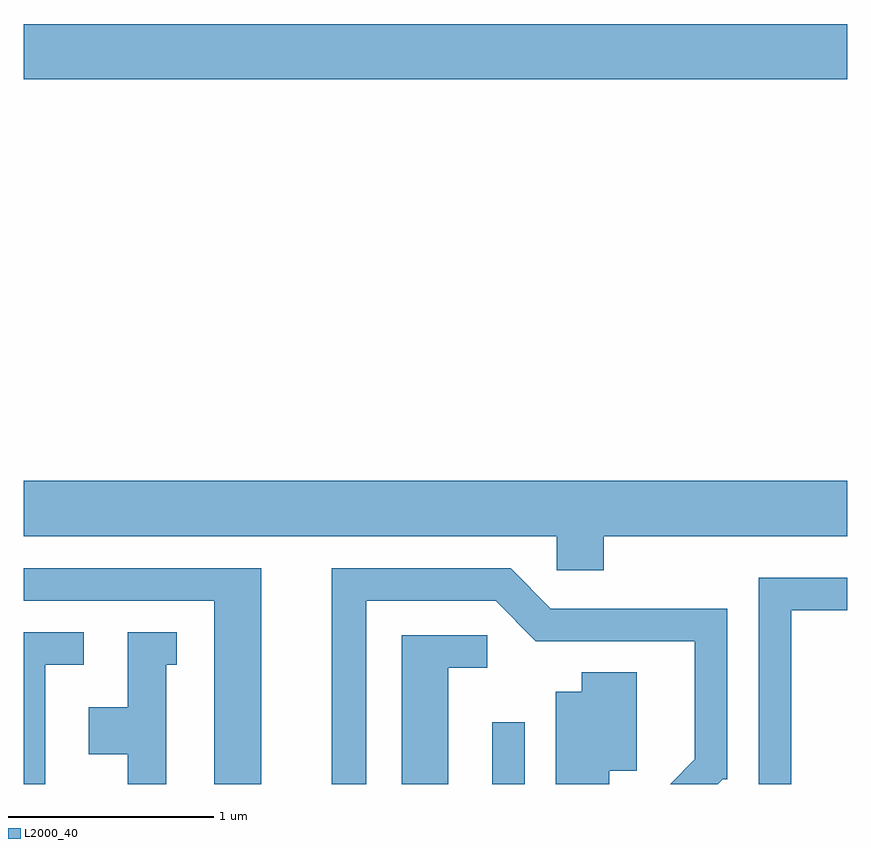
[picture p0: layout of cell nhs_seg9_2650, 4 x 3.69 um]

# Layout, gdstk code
import gdstk
lib = gdstk.Library(unit=1e-6, precision=1e-09)
def R(c, l, rs):  # rectangles x0, y0, x1, y1
    for r in rs: c.add(gdstk.rectangle(r[:2], r[2:], *l))
def P(c, l, *ps):  # polygons
    for p in ps: c.add(gdstk.Polygon(p, *l))
L2000_40 = (2000, 40)

nhs_seg9_2650 = lib.new_cell('nhs_seg9_2650')
R(nhs_seg9_2650, L2000_40, [(265.886,1948.432,266.044,1948.733), (263.611,1951.856,267.611,1952.124)])
P(nhs_seg9_2650, L2000_40, [(266.429,1949.636),(267.611,1949.636),(267.611,1949.904),(263.611,1949.904),(263.611,1949.636),(266.201,1949.636),(266.201,1949.471),(266.429,1949.471)],
  [(265.274,1949.321),(265.904,1949.321),(266.099,1949.126),(266.871,1949.126),(266.871,1948.552),(266.751,1948.432),(266.983,1948.432),(267.007,1948.456),(267.029,1948.456),(267.029,1949.284),(266.172,1949.284),(265.977,1949.479),(265.106,1949.479),(265.106,1948.432),(265.274,1948.432)],
  [(264.764,1949.479),(263.611,1949.479),(263.611,1949.321),(264.536,1949.321),(264.536,1948.432),(264.764,1948.432)],
  [(267.339,1949.276),(267.611,1949.276),(267.611,1949.434),(267.181,1949.434),(267.181,1948.432),(267.339,1948.432)],
  [(263.714,1949.011),(263.903,1949.011),(263.903,1949.169),(263.611,1949.169),(263.611,1948.432),(263.714,1948.432)],
  [(264.304,1949.011),(264.353,1949.011),(264.353,1949.169),(264.116,1949.169),(264.116,1948.804),(263.926,1948.804),(263.926,1948.576),(264.116,1948.576),(264.116,1948.432),(264.304,1948.432)],
  [(265.674,1948.996),(265.863,1948.996),(265.863,1949.154),(265.446,1949.154),(265.446,1948.432),(265.674,1948.432)],
  [(266.454,1948.496),(266.589,1948.496),(266.589,1948.974),(266.321,1948.974),(266.321,1948.879),(266.196,1948.879),(266.196,1948.432),(266.454,1948.432)])

lib.write_gds('nhs_seg9_2650.gds')
